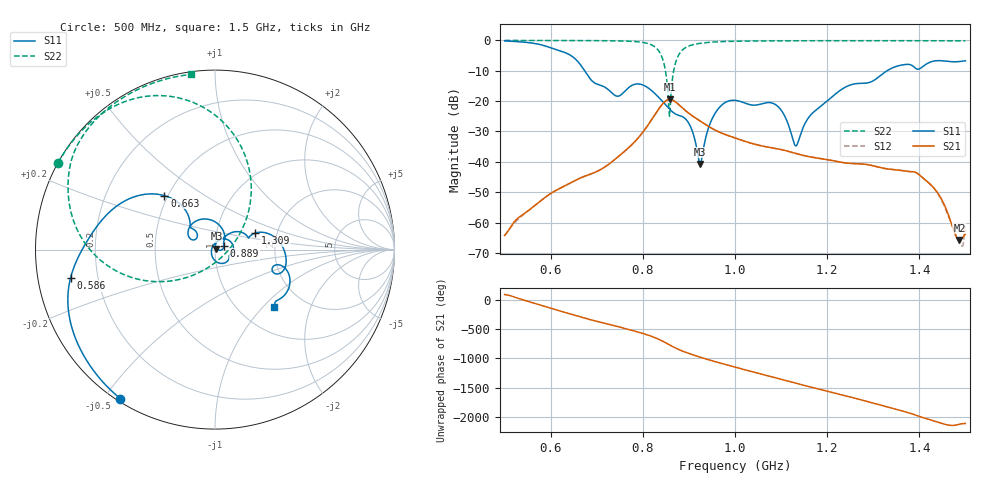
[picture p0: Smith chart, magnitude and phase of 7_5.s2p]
! TOUCHSTONE file generated by CST MICROWAVE STUDIO
! Date and time: Mon Oct 26 12:25:33 2020
! Project name: Scenario_1_Circular_Tissue_out_of_Line.cst
! Parameters = {dy1=-241.954; L_HA=400; MT=2.54; Rad_Dielectric=30; Rad_Lower=7.3; Rad_Upper=30; a_HA=580; a_WG=246; b_HA=500; b_WG=121; c_HA=0; c_WG=187; d_feed=85; dx1=866; h_feed=15; h_lower=18; h_upper=40}
! Header version: 2018
! Port assignment regex: !\s*Touchstone port\s*([0-9]+)\s*=\s*(CST MWS port|CST DS port)\s*([0-9]+|Zmin|Zmax)\s*\(\"(.*)\"\)(\s*mode\s*([0-9]+))?.*
! Touchstone port assignment:
! Touchstone port 1 = CST MWS port 1 ("")
! Touchstone port 2 = CST MWS port 2 ("")
# GHz S DB R 50
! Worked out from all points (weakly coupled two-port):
!   1001 points, 500 MHz to 1.5 GHz, reference 50 ohm
!   highest |S21| = -19.45 dB at 859 MHz (marker M1); lowest = -65.8 dB at 1.487 GHz (marker M2)
!   lowest |S11| = -40.7 dB at 924 MHz (marker M3), VSWR 1.02, Z = 50.8 + j0.499 ohm
!   |S11| at or under -10 dB: 673.7 MHz to 1.33 GHz (656.3 MHz wide, 65.5 % of centre)
!   |S22| runs from -25.0 to 0.0 dB; largest |S21 - S12| = 0.00061
!   S11 on the Smith chart (normalised r, x): 500 MHz: 0.01, -0.55; 586 MHz: 0.10, -0.10; 663 MHz: 0.48, +0.35; 889 MHz: 1.10, +0.04; 1.309 GHz: 1.54, +0.30; 1.5 GHz: 1.43, -1.17
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0.5  -0.15 -122.5  -64.27 91.6  -64.27 91.6  -0.01 151.1
0.586  -1.72 -168.9  -51.92 -107.9  -51.93 -107.9  -0.02 145.2
0.663  -7.69 133.2  -45.41 72.4  -45.41 72.4  -0.04 138.7
0.667  -8.50 130.4  -45.15 63.3  -45.15 63.3  -0.04 138.3
0.742  -18.29 144.5  -38.88 -88.8  -38.88 -88.8  -0.14 128.9
0.779  -14.62 142.4  -33.92 -167.3  -33.92 -167.3  -0.33 120.6
0.834  -18.68 67.5  -22.69 48.1  -22.68 48.1  -3.35 83.5
0.848  -20.97 52.9  -20.14 -6.7  -20.15 -6.7  -9.09 55.3
0.859  -22.79 45.2  -19.45 -54.6  -19.45 -54.6  -23.13 -86.1
0.871  -24.26 39.6  -20.26 -104.2  -20.26 -104.2  -7.35 -156.4
0.889  -25.39 21.9  -22.66 -164.9  -22.66 -164.9  -2.75 176.8
0.924  -40.67 32.0  -26.52 100.6  -26.52 100.6  -0.97 156.2
0.956  -24.21 64.3  -29.47 25.3  -29.48 25.2  -0.50 147.7
1  -19.73 2.4  -32.14 -70.0  -32.14 -70.0  -0.27 140.2
1.089  -21.25 -63.0  -35.63 104.4  -35.64 104.6  -0.13 130.7
1.132  -34.74 164.2  -37.24 13.9  -37.24 13.9  -0.11 127.0
1.167  -24.13 62.2  -38.48 -55.6  -38.43 -55.7  -0.10 124.2
1.309  -12.36 22.4  -41.66 13.6  -41.67 13.6  -0.08 113.4
1.334  -9.63 13.5  -42.39 -37.5  -42.40 -37.5  -0.08 111.4
1.427  -6.97 -21.4  -47.88 99.3  -47.87 99.5  -0.10 104.1
1.487  -6.96 -42.0  -65.75 33.0  -66.57 6.3  -0.13 99.0
1.5  -6.72 -44.2  -63.82 44.2  -63.58 45.8  -0.13 97.9
